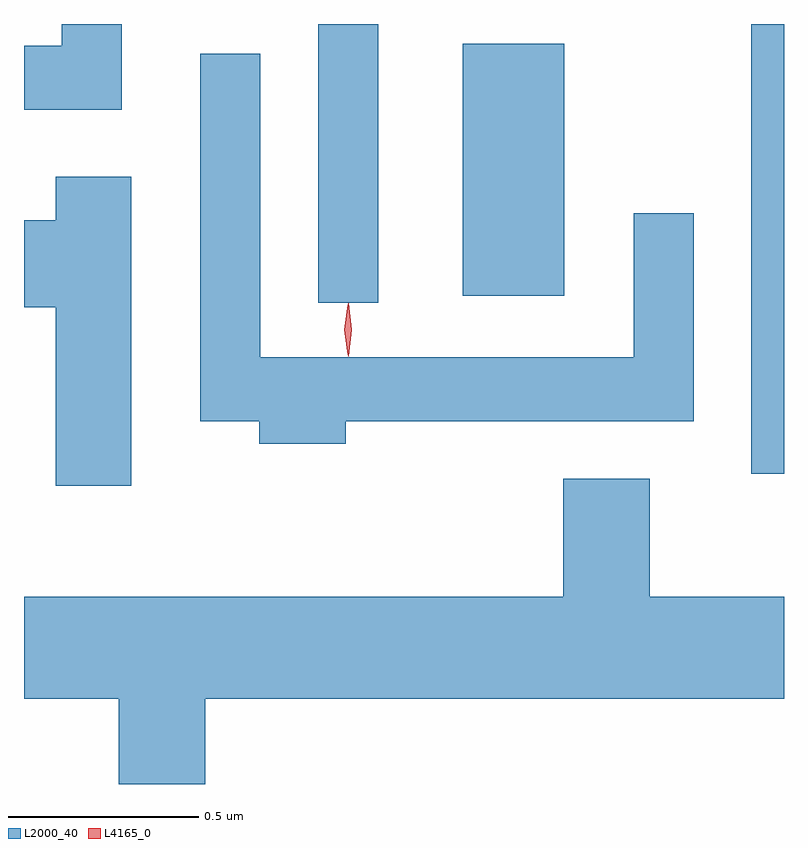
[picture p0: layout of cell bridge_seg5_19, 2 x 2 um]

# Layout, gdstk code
import gdstk
lib = gdstk.Library(unit=1e-6, precision=1e-09)
def R(c, l, rs):  # rectangles x0, y0, x1, y1
    for r in rs: c.add(gdstk.rectangle(r[:2], r[2:], *l))
def P(c, l, *ps):  # polygons
    for p in ps: c.add(gdstk.Polygon(p, *l))
L2000_40 = (2000, 40)
L4165_0 = (4165, 0)

bridge_seg5_19 = lib.new_cell('bridge_seg5_19')
R(bridge_seg5_19, L2000_40, [(1241.286,1477.368,1241.372,1478.551), (1240.146,1477.818,1240.304,1478.551), (1240.526,1477.836,1240.794,1478.499)])
P(bridge_seg5_19, L2000_40, [(1239.629,1478.551),(1239.471,1478.551),(1239.471,1478.494),(1239.372,1478.494),(1239.372,1478.326),(1239.629,1478.326)],
  [(1240.219,1477.506),(1241.134,1477.506),(1241.134,1478.053),(1240.976,1478.053),(1240.976,1477.674),(1239.994,1477.674),(1239.994,1478.473),(1239.836,1478.473),(1239.836,1477.506),(1239.991,1477.506),(1239.991,1477.446),(1240.219,1477.446)],
  [(1239.654,1478.149),(1239.456,1478.149),(1239.456,1478.034),(1239.372,1478.034),(1239.372,1477.806),(1239.456,1477.806),(1239.456,1477.336),(1239.654,1477.336)],
  [(1239.849,1476.776),(1241.372,1476.776),(1241.372,1477.044),(1241.019,1477.044),(1241.019,1477.354),(1240.791,1477.354),(1240.791,1477.044),(1239.372,1477.044),(1239.372,1476.776),(1239.621,1476.776),(1239.621,1476.551),(1239.849,1476.551)])
P(bridge_seg5_19, L4165_0, [(1240.225,1477.677),(1240.225,1477.677),(1240.215,1477.747),(1240.225,1477.816),(1240.225,1477.816),(1240.226,1477.816),(1240.235,1477.747),(1240.226,1477.677)],
  [(1240.225,1477.679),(1240.224,1477.68),(1240.215,1477.746),(1240.224,1477.812),(1240.225,1477.813),(1240.225,1477.812),(1240.235,1477.746),(1240.225,1477.68)])

lib.write_gds('bridge_seg5_19.gds')
